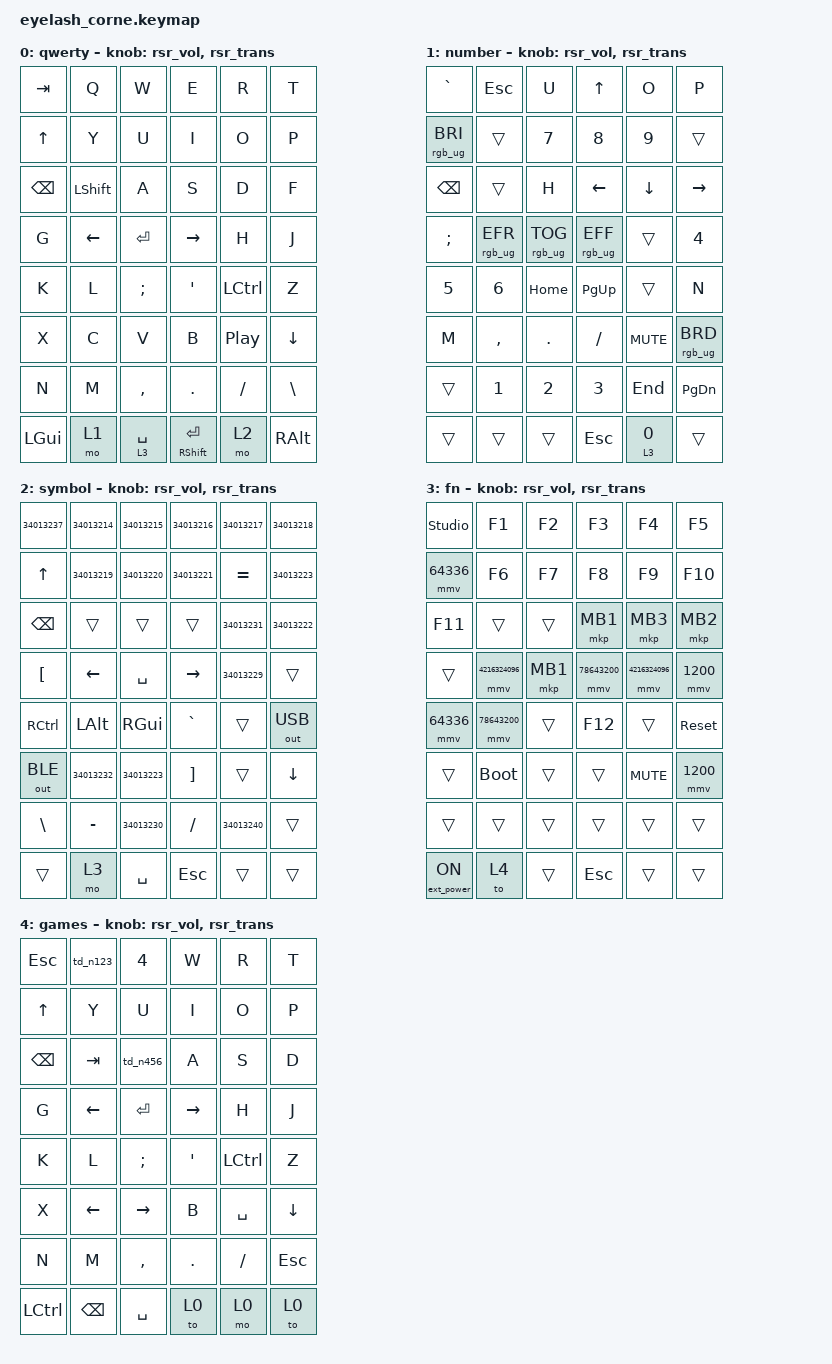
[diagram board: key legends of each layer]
#define ZMK_POINTING_DEFAULT_MOVE_VAL 1200  // 600
#define ZMK_POINTING_DEFAULT_SCRL_VAL 25   // 10

#include <input/processors.dtsi>
#include <zephyr/dt-bindings/input/input-event-codes.h>
#include <behaviors.dtsi>
#include <behaviors/runtime-sensor-rotate.dtsi>
#include <dt-bindings/zmk/bt.h>
#include <dt-bindings/zmk/keys.h>
#include <dt-bindings/zmk/outputs.h>
#include <dt-bindings/zmk/pointing.h>
#include <dt-bindings/zmk/rgb.h>
#include <dt-bindings/zmk/ext_power.h>

&soft_off { hold-time-ms = <2000>; };

/ {
    behaviors {
        td0: td0 {
            compatible = "zmk,behavior-tap-dance";
            display-name = "Shift/Caps Lock Tap Dance";
            #binding-cells = <0>;
            bindings = <&kp LEFT_SHIFT>, <&kp CAPS>;
        };

        td_n123: td_n123 {
            compatible = "zmk,behavior-tap-dance";
            display-name = "N1/N2/N3 Tap Dance";
            #binding-cells = <0>;
            bindings = <&kp N1>, <&kp N2>, <&kp N3>;
        };

        td_n456: td_n456 {
            compatible = "zmk,behavior-tap-dance";
            display-name = "N4/N5/N6 Tap Dance";
            #binding-cells = <0>;
            bindings = <&kp N4>, <&kp N5>, <&kp N6>;
        };

        rsr_vol: rsr_vol {
            compatible = "zmk,behavior-runtime-sensor-rotate";
            #sensor-binding-cells = <0>;
            tap-ms = <5>;
            cw-binding = <&kp C_VOL_UP>;
            ccw-binding = <&kp C_VOL_DN>;
        };

        rsr_trans: rsr_trans {
            compatible = "zmk,behavior-runtime-sensor-rotate";
            #sensor-binding-cells = <0>;
            tap-ms = <0>;
        };
    };

    combos {
        compatible = "zmk,combos";

        softoff {
            bindings = <&soft_off>;
            key-positions = <1 15 29>;
        };
    };

    keymap {
        compatible = "zmk,keymap";

        qwerty {
            bindings = <
                &kp TAB    &kp Q    &kp W    &kp E    &kp R    &kp T
                &kp UP    &kp Y    &kp U    &kp I    &kp O    &kp P
                &kp BACKSPACE    &kp LEFT_SHIFT    &kp A    &kp S    &kp D    &kp F
                &kp G    &kp LEFT    &kp RETURN    &kp RIGHT    &kp H    &kp J
                &kp K    &kp L    &kp SEMICOLON    &kp SQT    &kp LEFT_CONTROL    &kp Z
                &kp X    &kp C    &kp V    &kp B    &kp C_PLAY_PAUSE    &kp DOWN
                &kp N    &kp M    &kp COMMA    &kp PERIOD    &kp SLASH    &kp BACKSLASH
                &kp LEFT_GUI    &mo 1    &lt 3 SPACE    &mt RIGHT_SHIFT RETURN    &mo 2    &kp RIGHT_ALT
            >;
            sensor-bindings = <&rsr_vol &rsr_trans>;
        };

        number {
            bindings = <
                &kp GRAVE    &kp ESCAPE    &kp U    &kp UP    &kp O    &kp P
                &rgb_ug RGB_BRI    &trans    &kp N7    &kp N8    &kp N9    &trans
                &kp BACKSPACE    &trans    &kp H    &kp LEFT    &kp DOWN    &kp RIGHT
                &kp SEMICOLON    &rgb_ug RGB_EFR    &rgb_ug RGB_TOG    &rgb_ug RGB_EFF    &trans    &kp N4
                &kp N5    &kp N6    &kp HOME    &kp PAGE_UP    &trans    &kp N
                &kp M    &kp COMMA    &kp PERIOD    &kp SLASH    &kp C_MUTE    &rgb_ug RGB_BRD
                &trans    &kp N1    &kp N2    &kp N3    &kp END    &kp PAGE_DOWN
                &trans    &trans    &trans    &kp ESCAPE    &lt 3 N0    &trans
            >;
            sensor-bindings = <&rsr_vol &rsr_trans>;
        };

        symbol {
            bindings = <
                &kp 34013237    &kp 34013214    &kp 34013215    &kp 34013216    &kp 34013217    &kp 34013218
                &kp UP    &kp 34013219    &kp 34013220    &kp 34013221    &kp EQUAL    &kp 34013223
                &kp BACKSPACE    &trans    &trans    &trans    &kp 34013231    &kp 34013222
                &kp LEFT_BRACKET    &kp LEFT    &kp SPACE    &kp RIGHT    &kp 34013229    &trans
                &kp RIGHT_CONTROL    &kp LEFT_ALT    &kp RIGHT_GUI    &kp GRAVE    &trans    &out OUT_USB
                &out OUT_BLE    &kp 34013232    &kp 34013223    &kp RIGHT_BRACKET    &trans    &kp DOWN
                &kp BACKSLASH    &kp MINUS    &kp 34013230    &kp SLASH    &kp 34013240    &trans
                &trans    &mo 3    &kp SPACE    &kp ESCAPE    &trans    &trans
            >;
            sensor-bindings = <&rsr_vol &rsr_trans>;
        };

        fn {
            bindings = <
                &studio_unlock    &kp F1    &kp F2    &kp F3    &kp F4    &kp F5
                &mmv 64336    &kp F6    &kp F7    &kp F8    &kp F9    &kp F10
                &kp F11    &trans    &trans    &mkp MB1    &mkp MB3    &mkp MB2
                &trans    &mmv 4216324096    &mkp MB1    &mmv 78643200    &mmv 4216324096    &mmv 1200
                &mmv 64336    &mmv 78643200    &trans    &kp F12    &trans    &sys_reset
                &trans    &bootloader    &trans    &trans    &kp C_MUTE    &mmv 1200
                &trans    &trans    &trans    &trans    &trans    &trans
                &ext_power EP_ON    &to 4    &trans    &kp ESCAPE    &trans    &trans
            >;
            sensor-bindings = <&rsr_vol &rsr_trans>;
        };

        games {
            bindings = <
                &kp ESCAPE    &td_n123    &kp N4    &kp W    &kp R    &kp T
                &kp UP    &kp Y    &kp U    &kp I    &kp O    &kp P
                &kp BACKSPACE    &kp TAB    &td_n456    &kp A    &kp S    &kp D
                &kp G    &kp LEFT    &kp RETURN    &kp RIGHT    &kp H    &kp J
                &kp K    &kp L    &kp SEMICOLON    &kp SQT    &kp LEFT_CONTROL    &kp Z
                &kp X    &kp LEFT    &kp RIGHT    &kp B    &kp SPACE    &kp DOWN
                &kp N    &kp M    &kp COMMA    &kp PERIOD    &kp SLASH    &kp ESCAPE
                &kp LEFT_CONTROL    &kp BACKSPACE    &kp SPACE    &to 0    &mo 0    &to 0
            >;
            sensor-bindings = <&rsr_vol &rsr_trans>;
        };
    };
};
